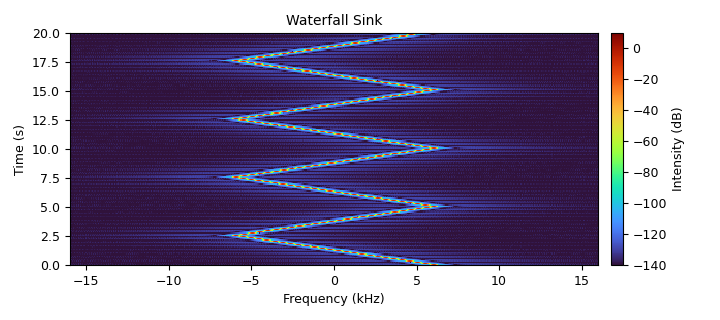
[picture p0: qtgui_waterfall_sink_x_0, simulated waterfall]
options:
  parameters:
    generate_options: qt_gui
    id: fg_ch18_002
    output_language: python
    title: FG-CH18-002
  states: {}

blocks:
- name: excursion
  id: variable
  parameters:
    value: '6000'
  states: {}
- name: samp_rate
  id: variable
  parameters:
    value: '32000'
  states: {}
- name: analog_frequency_modulator_fc_0
  id: analog_frequency_modulator_fc
  parameters:
    sensitivity: 2*3.141592653589793*excursion/samp_rate
  states: {}
- name: analog_sig_source_x_0
  id: analog_sig_source_x
  parameters:
    amp: '2'
    freq: '0.2'
    offset: '-1'
    phase: '0'
    samp_rate: samp_rate
    type: float
    waveform: analog.GR_TRI_WAVE
  states: {}
- name: blocks_throttle2_0
  id: blocks_throttle2
  parameters:
    samples_per_second: samp_rate
    type: complex
  states: {}
- name: qtgui_waterfall_sink_x_0
  id: qtgui_waterfall_sink_x
  parameters:
    bw: samp_rate
    fc: '0'
    fftsize: '512'
    legend: 'False'
    name: '"Waterfall Sink"'
    type: complex
  states: {}

connections:
- [analog_frequency_modulator_fc_0, '0', blocks_throttle2_0, '0']
- [analog_sig_source_x_0, '0', analog_frequency_modulator_fc_0, '0']
- [blocks_throttle2_0, '0', qtgui_waterfall_sink_x_0, '0']

metadata:
  file_format: 1
  grc_version: 3.10.12.0
